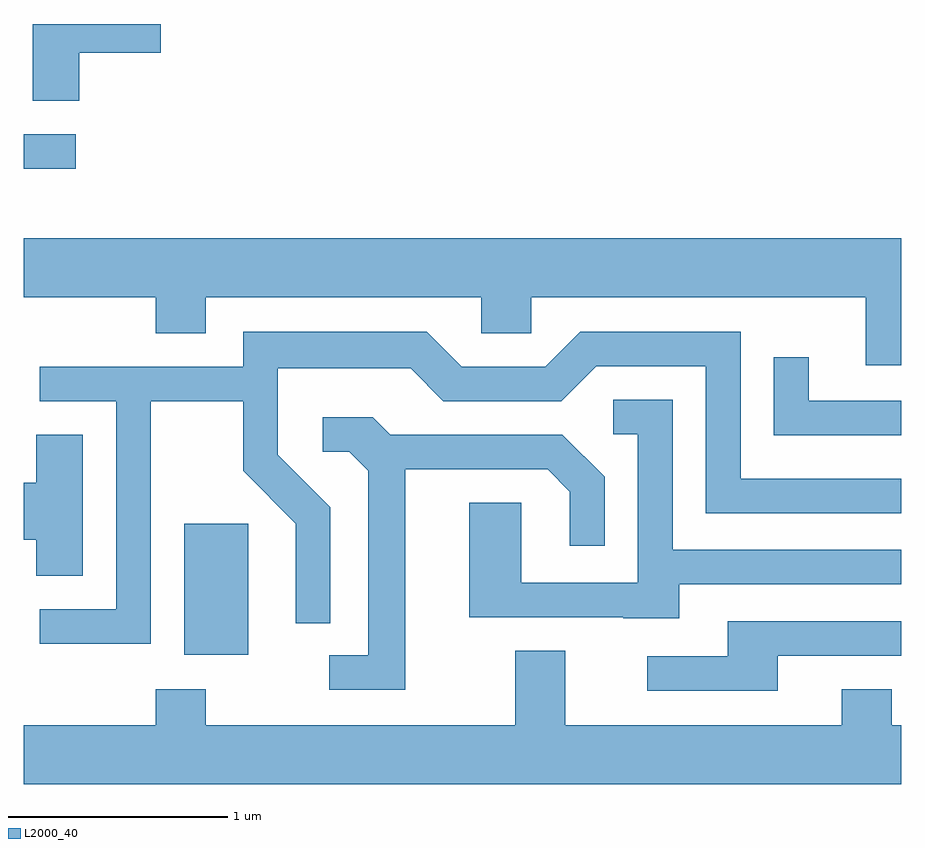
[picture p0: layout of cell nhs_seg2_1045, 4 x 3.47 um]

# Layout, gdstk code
import gdstk
lib = gdstk.Library(unit=1e-6, precision=1e-09)
def R(c, l, rs):  # rectangles x0, y0, x1, y1
    for r in rs: c.add(gdstk.rectangle(r[:2], r[2:], *l))
def P(c, l, *ps):  # polygons
    for p in ps: c.add(gdstk.Polygon(p, *l))
L2000_40 = (2000, 40)

nhs_seg2_1045 = lib.new_cell('nhs_seg2_1045')
R(nhs_seg2_1045, L2000_40, [(216.341,1028.926,216.634,1029.524), (215.611,1031.141,215.848,1031.299)])
P(nhs_seg2_1045, L2000_40, [(215.864,1031.671),(216.234,1031.671),(216.234,1031.802),(215.651,1031.802),(215.651,1031.451),(215.864,1031.451)],
  [(219.611,1030.824),(215.611,1030.824),(215.611,1030.556),(216.211,1030.556),(216.211,1030.391),(216.439,1030.391),(216.439,1030.556),(217.696,1030.556),(217.696,1030.391),(217.924,1030.391),(217.924,1030.556),(219.451,1030.556),(219.451,1030.246),(219.611,1030.246)],
  [(216.189,1030.081),(216.611,1030.081),(216.611,1029.764),(216.851,1029.524),(216.851,1029.068),(217.009,1029.068),(217.009,1029.597),(216.769,1029.837),(216.769,1030.231),(217.374,1030.231),(217.524,1030.081),(218.062,1030.081),(218.222,1030.241),(218.721,1030.241),(218.721,1029.571),(219.611,1029.571),(219.611,1029.729),(218.879,1029.729),(218.879,1030.399),(218.149,1030.399),(217.989,1030.239),(217.607,1030.239),(217.447,1030.399),(216.611,1030.399),(216.611,1030.239),(215.683,1030.239),(215.683,1030.081),(216.031,1030.081),(216.031,1029.134),(215.683,1029.134),(215.683,1028.976),(216.189,1028.976)],
  [(219.611,1030.084),(219.189,1030.084),(219.189,1030.283),(219.031,1030.283),(219.031,1029.926),(219.611,1029.926)],
  [(218.599,1029.246),(219.611,1029.246),(219.611,1029.404),(218.569,1029.404),(218.569,1030.089),(218.298,1030.089),(218.298,1029.931),(218.411,1029.931),(218.411,1029.254),(217.879,1029.254),(217.879,1029.619),(217.641,1029.619),(217.641,1029.096),(218.345,1029.096),(218.345,1029.091),(218.599,1029.091)],
  [(217.349,1029.771),(217.999,1029.771),(218.101,1029.669),(218.101,1029.423),(218.259,1029.423),(218.259,1029.737),(218.067,1029.929),(217.282,1029.929),(217.202,1030.009),(216.973,1030.009),(216.973,1029.851),(217.094,1029.851),(217.181,1029.764),(217.181,1028.924),(217.003,1028.924),(217.003,1028.766),(217.349,1028.766)],
  [(215.879,1029.929),(215.666,1029.929),(215.666,1029.709),(215.611,1029.709),(215.611,1029.451),(215.666,1029.451),(215.666,1029.286),(215.879,1029.286)],
  [(219.049,1028.921),(219.611,1028.921),(219.611,1029.079),(218.821,1029.079),(218.821,1028.919),(218.453,1028.919),(218.453,1028.761),(219.049,1028.761)],
  [(219.611,1028.604),(219.569,1028.604),(219.569,1028.769),(219.341,1028.769),(219.341,1028.604),(218.079,1028.604),(218.079,1028.944),(217.851,1028.944),(217.851,1028.604),(216.439,1028.604),(216.439,1028.769),(216.211,1028.769),(216.211,1028.604),(215.611,1028.604),(215.611,1028.336),(219.611,1028.336)])

lib.write_gds('nhs_seg2_1045.gds')
